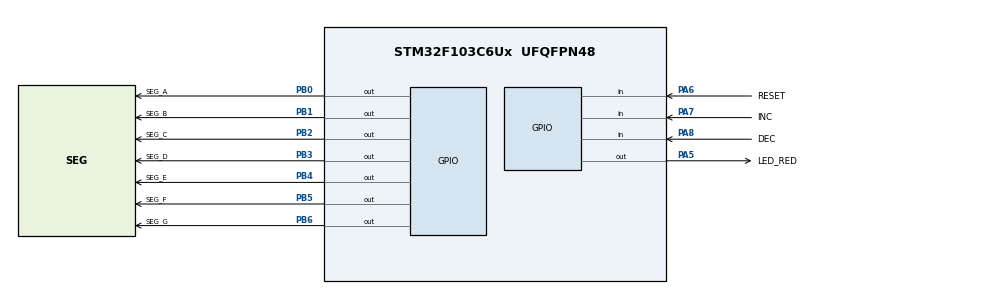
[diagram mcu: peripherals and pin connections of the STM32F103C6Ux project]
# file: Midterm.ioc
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Mcu.Family=STM32F1
Mcu.Name=STM32F103C6Ux
Mcu.Package=UFQFPN48
NVIC.PriorityGroup=NVIC_PRIORITYGROUP_4
NVIC.TIM2_IRQn=true\:0\:0\:false\:false\:true\:true\:true
PA5.GPIO_Label=LED_RED
PA5.Signal=GPIO_Output
PA6.GPIO_Label=RESET
PA6.GPIO_PuPd=GPIO_PULLUP
PA6.Signal=GPIO_Input
PA7.GPIO_Label=INC
PA7.GPIO_PuPd=GPIO_PULLUP
PA7.Signal=GPIO_Input
PA8.GPIO_Label=DEC
PA8.GPIO_PuPd=GPIO_PULLUP
PA8.Signal=GPIO_Input
PB0.GPIO_Label=SEG_A
PB0.Signal=GPIO_Output
PB1.GPIO_Label=SEG_B
PB1.Signal=GPIO_Output
PB2.GPIO_Label=SEG_C
PB2.Signal=GPIO_Output
PB3.GPIO_Label=SEG_D
PB3.Signal=GPIO_Output
PB4.GPIO_Label=SEG_E
PB4.Signal=GPIO_Output
PB5.GPIO_Label=SEG_F
PB5.Signal=GPIO_Output
PB6.GPIO_Label=SEG_G
PB6.Signal=GPIO_Output
ProjectManager.HeapSize=0x200
ProjectManager.StackSize=0x400
ProjectManager.TargetToolchain=STM32CubeIDE
RCC.APB1Freq_Value=8000000
RCC.APB2Freq_Value=8000000
TIM2.Period=9
TIM2.Prescaler=7999
VP_SYS_VS_ND.Mode=No_Debug
VP_TIM2_VS_ClockSourceINT.Mode=Internal
board=custom

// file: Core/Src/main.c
/* USER CODE BEGIN Header */
/**
  ******************************************************************************
  * @file           : main.c
  * @brief          : Main program body
  ******************************************************************************
  * @attention
  *
  * <h2><center>&copy; Copyright (c) 2022 STMicroelectronics.
  * All rights reserved.</center></h2>
  *
  * This software component is licensed by ST under BSD 3-Clause license,
  * the "License"; You may not use this file except in compliance with the
  * License. You may obtain a copy of the License at:
  *                        opensource.org/licenses/BSD-3-Clause
  *
  ******************************************************************************
  */
/* USER CODE END Header */
#include "main.h"

/* USER CODE BEGIN Includes */
#include "software_timer.h"
#include "button.h"
#include "global.h"
#include "fsm_midterm.h"
/* USER CODE END Includes */

TIM_HandleTypeDef htim2;

void SystemClock_Config(void);
static void MX_GPIO_Init(void);
static void MX_TIM2_Init(void);

int main(void)
{

  /* MCU Configuration--------------------------------------------------------*/

  /* Reset of all peripherals, Initializes the Flash interface and the Systick. */
  HAL_Init();

  /* Configure the system clock */
  SystemClock_Config();

  /* Initialize all configured peripherals */
  MX_GPIO_Init();
  MX_TIM2_Init();
  /* USER CODE BEGIN 2 */
  HAL_TIM_Base_Start_IT(&htim2);
  /* USER CODE END 2 */

  /* Infinite loop */
  /* USER CODE BEGIN WHILE */
  status = 10;
  setTimer2(500);
  while (1)
  {
	  if (timer2_flag == 1) {
		  HAL_GPIO_TogglePin(LED_RED_GPIO_Port, LED_RED_Pin);
		  setTimer2(500);
	  }
	  fsm_midterm_run();
    /* USER CODE END WHILE */

  }
}

void SystemClock_Config(void)
{
  RCC_OscInitTypeDef RCC_OscInitStruct = {0};
  RCC_ClkInitTypeDef RCC_ClkInitStruct = {0};

  /** Initializes the RCC Oscillators according to the specified parameters
  * in the RCC_OscInitTypeDef structure.
  */
  RCC_OscInitStruct.OscillatorType = RCC_OSCILLATORTYPE_HSI;
  RCC_OscInitStruct.HSIState = RCC_HSI_ON;
  RCC_OscInitStruct.HSICalibrationValue = RCC_HSICALIBRATION_DEFAULT;
  RCC_OscInitStruct.PLL.PLLState = RCC_PLL_NONE;
  if (HAL_RCC_OscConfig(&RCC_OscInitStruct) != HAL_OK)
  {
    Error_Handler();
  }
  /** Initializes the CPU, AHB and APB buses clocks
  */
  RCC_ClkInitStruct.ClockType = RCC_CLOCKTYPE_HCLK|RCC_CLOCKTYPE_SYSCLK
                              |RCC_CLOCKTYPE_PCLK1|RCC_CLOCKTYPE_PCLK2;
  RCC_ClkInitStruct.SYSCLKSource = RCC_SYSCLKSOURCE_HSI;
  RCC_ClkInitStruct.AHBCLKDivider = RCC_SYSCLK_DIV1;
  RCC_ClkInitStruct.APB1CLKDivider = RCC_HCLK_DIV1;
  RCC_ClkInitStruct.APB2CLKDivider = RCC_HCLK_DIV1;

  if (HAL_RCC_ClockConfig(&RCC_ClkInitStruct, FLASH_LATENCY_0) != HAL_OK)
  {
    Error_Handler();
  }
}

static void MX_TIM2_Init(void)
{

  TIM_ClockConfigTypeDef sClockSourceConfig = {0};
  TIM_MasterConfigTypeDef sMasterConfig = {0};

  htim2.Instance = TIM2;
  htim2.Init.Prescaler = 7999;
  htim2.Init.CounterMode = TIM_COUNTERMODE_UP;
  htim2.Init.Period = 9;
  htim2.Init.ClockDivision = TIM_CLOCKDIVISION_DIV1;
  htim2.Init.AutoReloadPreload = TIM_AUTORELOAD_PRELOAD_DISABLE;
  if (HAL_TIM_Base_Init(&htim2) != HAL_OK)
  {
    Error_Handler();
  }
  sClockSourceConfig.ClockSource = TIM_CLOCKSOURCE_INTERNAL;
  if (HAL_TIM_ConfigClockSource(&htim2, &sClockSourceConfig) != HAL_OK)
  {
    Error_Handler();
  }
  sMasterConfig.MasterOutputTrigger = TIM_TRGO_RESET;
  sMasterConfig.MasterSlaveMode = TIM_MASTERSLAVEMODE_DISABLE;
  if (HAL_TIMEx_MasterConfigSynchronization(&htim2, &sMasterConfig) != HAL_OK)
  {
    Error_Handler();
  }

}

static void MX_GPIO_Init(void)
{
  GPIO_InitTypeDef GPIO_InitStruct = {0};

  /* GPIO Ports Clock Enable */
  __HAL_RCC_GPIOA_CLK_ENABLE();
  __HAL_RCC_GPIOB_CLK_ENABLE();

  /*Configure GPIO pin Output Level */
  HAL_GPIO_WritePin(LED_RED_GPIO_Port, LED_RED_Pin, GPIO_PIN_RESET);

  /*Configure GPIO pin Output Level */
  HAL_GPIO_WritePin(GPIOB, SEG_A_Pin|SEG_B_Pin|SEG_C_Pin|SEG_D_Pin
                          |SEG_E_Pin|SEG_F_Pin|SEG_G_Pin, GPIO_PIN_RESET);

  /*Configure GPIO pin : LED_RED_Pin */
  GPIO_InitStruct.Pin = LED_RED_Pin;
  GPIO_InitStruct.Mode = GPIO_MODE_OUTPUT_PP;
  GPIO_InitStruct.Pull = GPIO_NOPULL;
  GPIO_InitStruct.Speed = GPIO_SPEED_FREQ_LOW;
  HAL_GPIO_Init(LED_RED_GPIO_Port, &GPIO_InitStruct);

  /*Configure GPIO pins : RESET_Pin INC_Pin DEC_Pin */
  GPIO_InitStruct.Pin = RESET_Pin|INC_Pin|DEC_Pin;
  GPIO_InitStruct.Mode = GPIO_MODE_INPUT;
  GPIO_InitStruct.Pull = GPIO_PULLUP;
  HAL_GPIO_Init(GPIOA, &GPIO_InitStruct);

  /*Configure GPIO pins : SEG_A_Pin SEG_B_Pin SEG_C_Pin SEG_D_Pin
                           SEG_E_Pin SEG_F_Pin SEG_G_Pin */
  GPIO_InitStruct.Pin = SEG_A_Pin|SEG_B_Pin|SEG_C_Pin|SEG_D_Pin
                          |SEG_E_Pin|SEG_F_Pin|SEG_G_Pin;
  GPIO_InitStruct.Mode = GPIO_MODE_OUTPUT_PP;
  GPIO_InitStruct.Pull = GPIO_NOPULL;
  GPIO_InitStruct.Speed = GPIO_SPEED_FREQ_LOW;
  HAL_GPIO_Init(GPIOB, &GPIO_InitStruct);

}

/* USER CODE BEGIN 4 */
void HAL_TIM_PeriodElapsedCallback(TIM_HandleTypeDef *htim) {
	timerRun();
	getKeyInputINC();
	getKeyInputDEC();
	getKeyInputRST();
}
/* USER CODE END 4 */

void Error_Handler(void)
{
  __disable_irq();
  while (1)
  {
  }
}

/************************ (C) COPYRIGHT STMicroelectronics *****END OF FILE****/
